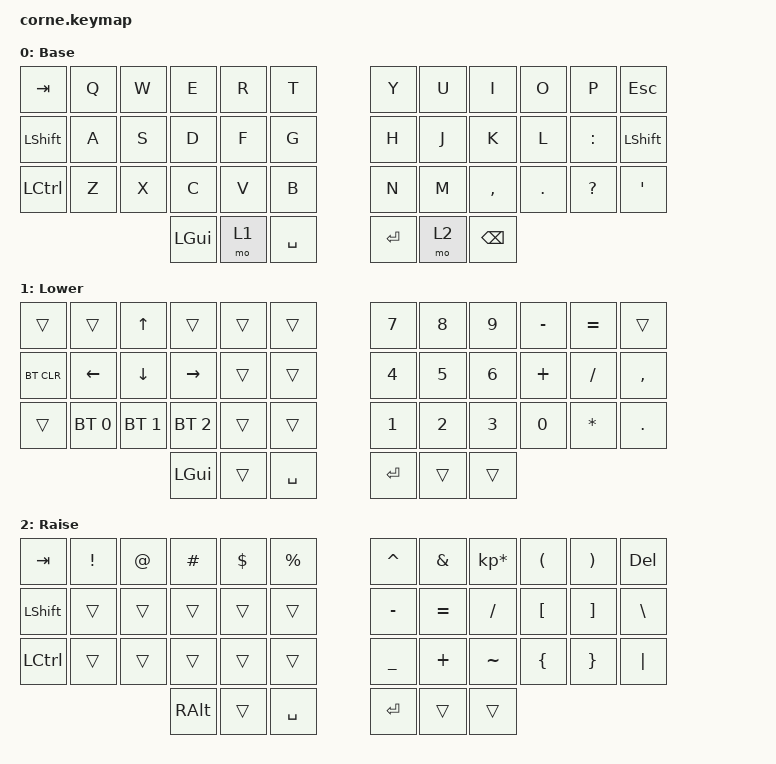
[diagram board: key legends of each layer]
/*
 * Copyright (c) 2020 The ZMK Contributors
 *
 * SPDX-License-Identifier: MIT
 */

#include <behaviors.dtsi>
#include <dt-bindings/zmk/bt.h>
#include <dt-bindings/zmk/keys.h>

/ {
    combos {
        compatible = "zmk,combos";

        alt,ctlr,del {
            bindings = <&sk LA(LC(DEL))>;
            key-positions = <11 0>;
        };

        ctr+z {
            bindings = <&kp LC(Z)>;
            key-positions = <25 26>;
        };

        ctr+c {
            bindings = <&kp LC(C)>;
            key-positions = <27 28>;
        };

        ctr+v {
            bindings = <&kp LC(V)>;
            key-positions = <28 29>;
        };
    };

    behaviors {
        delete1: delete1 {
            compatible = "zmk,behavior-tap-dance";
            label = "DELETE1";
            #binding-cells = <0>;
            bindings = <&kp DELETE>;
        };
    };

    keymap {
        compatible = "zmk,keymap";

        default_layer {
            // -----------------------------------------------------------------------------------------
            // |  TAB |  Q  |  W  |  E  |  R  |  T  |   |  Y  |  U   |  I  |  O  |  P  | BKSP |
            // | CTRL |  A  |  S  |  D  |  F  |  G  |   |  H  |  J   |  K  |  L  |  ;  |  '   |
            // | SHFT |  Z  |  X  |  C  |  V  |  B  |   |  N  |  M   |  ,  |  .  |  /  | ESC  |
            //                    | GUI | LWR | SPC |   | ENT | RSE  | ALT |

            label = "Base";
            bindings = <
&kp TAB         &kp Q  &kp W  &kp E     &kp R  &kp T        &kp Y    &kp U  &kp I          &kp O    &kp P         &kp ESCAPE
&kp LEFT_SHIFT  &kp A  &kp S  &kp D     &kp F  &kp G        &kp H    &kp J  &kp K          &kp L    &kp COLON     &kp LEFT_SHIFT
&kp LCTRL       &kp Z  &kp X  &kp C     &kp V  &kp B        &kp N    &kp M  &kp COMMA      &kp DOT  &kp QUESTION  &kp SQT
                              &kp LGUI  &mo 1  &kp SPACE    &kp RET  &mo 2  &kp BACKSPACE
            >;
        };

        lower_layer {
            // -----------------------------------------------------------------------------------------
            // |  TAB |  1  |  2  |  3  |  4  |  5  |   |  6  |  7  |  8  |  9  |  0  | BKSP |
            // | BTCLR| BT1 | BT2 | BT3 | BT4 | BT5 |   | LFT | DWN |  UP | RGT |     |      |
            // | SHFT |     |     |     |     |     |   |     |     |     |     |     |      |
            //                    | GUI |     | SPC |   | ENT |     | ALT |

            label = "Lower";
            bindings = <
&trans      &trans          &kp UP_ARROW    &trans           &trans  &trans       &kp NUMBER_7  &kp NUMBER_8  &kp NUMBER_9  &kp MINUS     &kp EQUAL     &trans
&bt BT_CLR  &kp LEFT_ARROW  &kp DOWN_ARROW  &kp RIGHT_ARROW  &trans  &trans       &kp NUMBER_4  &kp NUMBER_5  &kp NUMBER_6  &kp PLUS      &kp SLASH     &kp COMMA
&trans      &bt BT_SEL 0    &bt BT_SEL 1    &bt BT_SEL 2     &trans  &trans       &kp NUMBER_1  &kp NUMBER_2  &kp NUMBER_3  &kp NUMBER_0  &kp ASTERISK  &kp DOT
                                            &kp LGUI         &trans  &kp SPACE    &kp RET       &trans        &trans
            >;
        };

        raise_layer {
            // -----------------------------------------------------------------------------------------
            // |  TAB |  !  |  @  |  #  |  $  |  %  |   |  ^  |  &  |  *  |  (  |  )  | BKSP |
            // | CTRL |     |     |     |     |     |   |  -  |  =  |  [  |  ]  |  \  |  `   |
            // | SHFT |     |     |     |     |     |   |  _  |  +  |  {  |  }  | "|" |  ~   |
            //                    | GUI |     | SPC |   | ENT |     | ALT |

            label = "Raise";
            bindings = <
&kp TAB           &kp EXCL  &kp AT  &kp HASH       &kp DLLR  &kp PRCNT    &kp CARET  &kp AMPS   &kp KP_MULTIPLY  &kp LPAR          &kp RPAR           &kp DELETE
&kp LEFT_SHIFT    &trans    &trans  &trans         &trans    &trans       &kp MINUS  &kp EQUAL  &kp SLASH        &kp LEFT_BRACKET  &kp RIGHT_BRACKET  &kp BACKSLASH
&kp LEFT_CONTROL  &trans    &trans  &trans         &trans    &trans       &kp UNDER  &kp PLUS   &kp TILDE        &kp LEFT_BRACE    &kp RIGHT_BRACE    &kp PIPE
                                    &kp RIGHT_ALT  &trans    &kp SPACE    &kp RET    &trans     &trans
            >;
        };
    };
};
